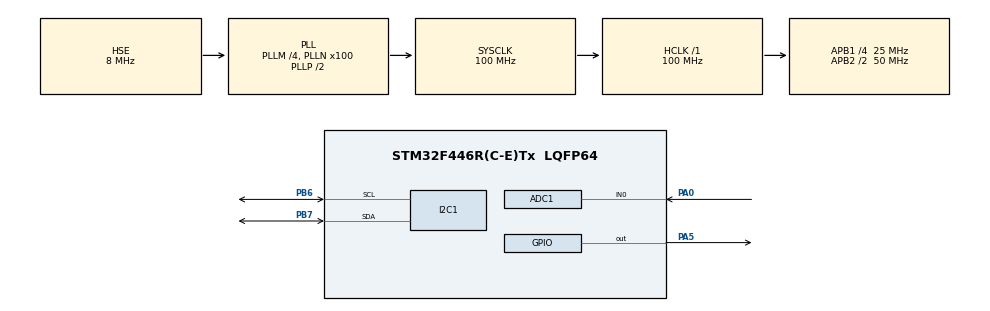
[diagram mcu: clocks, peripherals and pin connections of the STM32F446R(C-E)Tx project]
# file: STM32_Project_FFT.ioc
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ADC1.Channel-0\#ChannelRegularConversion=ADC_CHANNEL_0
ADC1.DMAContinuousRequests=ENABLE
ADC1.ExternalTrigConv=ADC_EXTERNALTRIGCONV_T2_TRGO
ADC1.NbrOfConversionFlag=1
ADC1.Rank-0\#ChannelRegularConversion=1
ADC1.SamplingTime-0\#ChannelRegularConversion=ADC_SAMPLETIME_15CYCLES
ADC1.master=1
Dma.ADC1.0.Direction=DMA_PERIPH_TO_MEMORY
Dma.ADC1.0.FIFOMode=DMA_FIFOMODE_DISABLE
Dma.ADC1.0.Instance=DMA2_Stream0
Dma.ADC1.0.MemDataAlignment=DMA_MDATAALIGN_HALFWORD
Dma.ADC1.0.MemInc=DMA_MINC_ENABLE
Dma.ADC1.0.Mode=DMA_CIRCULAR
Dma.ADC1.0.PeriphDataAlignment=DMA_PDATAALIGN_HALFWORD
Dma.ADC1.0.PeriphInc=DMA_PINC_DISABLE
Dma.ADC1.0.Priority=DMA_PRIORITY_LOW
Dma.I2C1_TX.1.Direction=DMA_MEMORY_TO_PERIPH
Dma.I2C1_TX.1.FIFOMode=DMA_FIFOMODE_DISABLE
Dma.I2C1_TX.1.Instance=DMA1_Stream6
Dma.I2C1_TX.1.MemDataAlignment=DMA_MDATAALIGN_BYTE
Dma.I2C1_TX.1.MemInc=DMA_MINC_ENABLE
Dma.I2C1_TX.1.Mode=DMA_NORMAL
Dma.I2C1_TX.1.PeriphDataAlignment=DMA_PDATAALIGN_BYTE
Dma.I2C1_TX.1.PeriphInc=DMA_PINC_DISABLE
Dma.I2C1_TX.1.Priority=DMA_PRIORITY_HIGH
Dma.Request0=ADC1
Dma.Request1=I2C1_TX
I2C1.I2C_Mode=I2C_Fast
Mcu.Family=STM32F4
Mcu.Name=STM32F446R(C-E)Tx
Mcu.Package=LQFP64
NVIC.ADC_IRQn=true\:0\:0\:false\:false\:true\:true\:true\:true
NVIC.DMA1_Stream6_IRQn=true\:0\:0\:false\:false\:true\:false\:true\:true
NVIC.DMA2_Stream0_IRQn=true\:0\:0\:false\:false\:true\:false\:true\:true
NVIC.I2C1_ER_IRQn=true\:0\:0\:false\:false\:true\:true\:true\:true
NVIC.I2C1_EV_IRQn=true\:0\:0\:false\:false\:true\:true\:true\:true
NVIC.PriorityGroup=NVIC_PRIORITYGROUP_0
NVIC.TIM2_IRQn=true\:0\:0\:false\:false\:true\:true\:true\:true
PA0-WKUP.Signal=ADCx_IN0
PA13.Mode=Serial_Wire
PA13.Signal=SYS_JTMS-SWDIO
PA14.Mode=Serial_Wire
PA14.Signal=SYS_JTCK-SWCLK
PA5.Signal=GPIO_Output
PB6.GPIO_Speed=GPIO_SPEED_FREQ_VERY_HIGH
PB6.Mode=I2C
PB6.Signal=I2C1_SCL
PB7.GPIO_Speed=GPIO_SPEED_FREQ_VERY_HIGH
PB7.Mode=I2C
PB7.Signal=I2C1_SDA
PB8.Signal=S_TIM2_CH1_ETR
PH0-OSC_IN.Mode=HSE-External-Oscillator
PH0-OSC_IN.Signal=RCC_OSC_IN
PH1-OSC_OUT.Mode=HSE-External-Oscillator
PH1-OSC_OUT.Signal=RCC_OSC_OUT
ProjectManager.HeapSize=0x200
ProjectManager.StackSize=0x400
ProjectManager.TargetToolchain=STM32CubeIDE
RCC.AHBFreq_Value=100000000
RCC.APB1CLKDivider=RCC_HCLK_DIV4
RCC.APB1Freq_Value=25000000
RCC.APB1TimFreq_Value=50000000
RCC.APB2CLKDivider=RCC_HCLK_DIV2
RCC.APB2Freq_Value=50000000
RCC.APB2TimFreq_Value=100000000
RCC.CortexFreq_Value=100000000
RCC.FLatency-AdvancedSettings=FLASH_LATENCY_3
RCC.HCLKFreq_Value=100000000
RCC.HSE_VALUE=8000000
RCC.HSI_VALUE=16000000
RCC.LSE_VALUE=32768
RCC.PLLM=4
RCC.PLLN=100
RCC.PLLSourceVirtual=RCC_PLLSOURCE_HSE
RCC.SYSCLKFreq_VALUE=100000000
RCC.SYSCLKSource=RCC_SYSCLKSOURCE_PLLCLK
RCC.USBFreq_Value=100000000
RCC.VCOOutputFreq_Value=200000000
SH.ADCx_IN0.0=ADC1_IN0,IN0
SH.S_TIM2_CH1_ETR.0=TIM2_CH1
TIM2.Period=49
TIM2.Prescaler=99
TIM2.TIM_MasterOutputTrigger=TIM_TRGO_UPDATE
VP_TIM1_VS_ClockSourceITR.Mode=TriggerSource_ITR0
VP_TIM2_VS_ClockSourceINT.Mode=Internal
VP_TIM2_VS_ClockSourceITR.Mode=TriggerSource_ITR0
board=NUCLEO-F446RE

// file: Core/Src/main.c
/* USER CODE BEGIN Header */
/**
  ******************************************************************************
  * @file           : main.c
  * @brief          : Main program body
  ******************************************************************************
  * @attention
  *
  * Copyright (c) 2026 STMicroelectronics.
  * All rights reserved.
  *
  * This software is licensed under terms that can be found in the LICENSE file
  * in the root directory of this software component.
  * If no LICENSE file comes with this software, it is provided AS-IS.
  *
  ******************************************************************************
  */
/* USER CODE END Header */
#include "main.h"

/* USER CODE BEGIN Includes */
#include "ssd1306.h"
#include <stdlib.h>
/* USER CODE END Includes */

/* USER CODE BEGIN PD */
#define MEM_BUFFER_SIZE 256
#define DIVIDER 2
/* USER CODE END PD */

ADC_HandleTypeDef hadc1;
DMA_HandleTypeDef hdma_adc1;

I2C_HandleTypeDef hi2c1;
DMA_HandleTypeDef hdma_i2c1_tx;

TIM_HandleTypeDef htim1;
TIM_HandleTypeDef htim2;

void SystemClock_Config(void);
static void MX_GPIO_Init(void);
static void MX_DMA_Init(void);
static void MX_ADC1_Init(void);
static void MX_TIM1_Init(void);
static void MX_TIM2_Init(void);
static void MX_I2C1_Init(void);
/* USER CODE BEGIN PFP */
void HAL_ADC_ConvCpltCallback(ADC_HandleTypeDef *hadc);
void HAL_ADC_ConvHalfCpltCallback(ADC_HandleTypeDef *hadc);
void map_wave_to_ssd1306(uint16_t *buffer, uint8_t processed);
/* USER CODE END PFP */

/* USER CODE BEGIN 0 */
uint16_t mem_buffer[MEM_BUFFER_SIZE];

//0 -> not ready
//1 -> filled first half of buffer
//2 -> filled full buffer
volatile uint8_t half_ready;
volatile uint8_t full_ready;
volatile uint8_t screen_in_process;

int prev_y;
/* USER CODE END 0 */

int main(void)
{

  /* MCU Configuration--------------------------------------------------------*/

  /* Reset of all peripherals, Initializes the Flash interface and the Systick. */
  HAL_Init();

  /* Configure the system clock */
  SystemClock_Config();

  /* Initialize all configured peripherals */
  MX_GPIO_Init();
  MX_DMA_Init();
  MX_ADC1_Init();
  MX_TIM1_Init();
  MX_TIM2_Init();
  MX_I2C1_Init();
  /* USER CODE BEGIN 2 */
  SSD1306_Init();
  HAL_ADC_Start_DMA(&hadc1, (uint32_t *)mem_buffer, MEM_BUFFER_SIZE);
  HAL_TIM_Base_Start(&htim2);
  /* USER CODE END 2 */

  /* Infinite loop */
  while (1)
  {

    /* USER CODE BEGIN 3 */
	if (half_ready)
	{
		half_ready = 0;
		SSD1306_Fill (0);
	   	map_wave_to_ssd1306(mem_buffer, 1);
     }
     if (full_ready)
     {
	   	full_ready = 0;
	   	map_wave_to_ssd1306(mem_buffer, 2);
	   	if (!screen_in_process)
	   	{
	   		screen_in_process = 1;
	        SSD1306_UpdateScreen();
	   	}
	 }

  }
  /* USER CODE END 3 */
}

void SystemClock_Config(void)
{
  RCC_OscInitTypeDef RCC_OscInitStruct = {0};
  RCC_ClkInitTypeDef RCC_ClkInitStruct = {0};

  /** Configure the main internal regulator output voltage
  */
  __HAL_RCC_PWR_CLK_ENABLE();
  __HAL_PWR_VOLTAGESCALING_CONFIG(PWR_REGULATOR_VOLTAGE_SCALE3);

  /** Initializes the RCC Oscillators according to the specified parameters
  * in the RCC_OscInitTypeDef structure.
  */
  RCC_OscInitStruct.OscillatorType = RCC_OSCILLATORTYPE_HSE;
  RCC_OscInitStruct.HSEState = RCC_HSE_ON;
  RCC_OscInitStruct.PLL.PLLState = RCC_PLL_ON;
  RCC_OscInitStruct.PLL.PLLSource = RCC_PLLSOURCE_HSE;
  RCC_OscInitStruct.PLL.PLLM = 4;
  RCC_OscInitStruct.PLL.PLLN = 100;
  RCC_OscInitStruct.PLL.PLLP = RCC_PLLP_DIV2;
  RCC_OscInitStruct.PLL.PLLQ = 2;
  RCC_OscInitStruct.PLL.PLLR = 2;
  if (HAL_RCC_OscConfig(&RCC_OscInitStruct) != HAL_OK)
  {
    Error_Handler();
  }

  /** Initializes the CPU, AHB and APB buses clocks
  */
  RCC_ClkInitStruct.ClockType = RCC_CLOCKTYPE_HCLK|RCC_CLOCKTYPE_SYSCLK
                              |RCC_CLOCKTYPE_PCLK1|RCC_CLOCKTYPE_PCLK2;
  RCC_ClkInitStruct.SYSCLKSource = RCC_SYSCLKSOURCE_PLLCLK;
  RCC_ClkInitStruct.AHBCLKDivider = RCC_SYSCLK_DIV1;
  RCC_ClkInitStruct.APB1CLKDivider = RCC_HCLK_DIV4;
  RCC_ClkInitStruct.APB2CLKDivider = RCC_HCLK_DIV2;

  if (HAL_RCC_ClockConfig(&RCC_ClkInitStruct, FLASH_LATENCY_3) != HAL_OK)
  {
    Error_Handler();
  }
}

static void MX_ADC1_Init(void)
{

  ADC_ChannelConfTypeDef sConfig = {0};

  /** Configure the global features of the ADC (Clock, Resolution, Data Alignment and number of conversion)
  */
  hadc1.Instance = ADC1;
  hadc1.Init.ClockPrescaler = ADC_CLOCK_SYNC_PCLK_DIV2;
  hadc1.Init.Resolution = ADC_RESOLUTION_12B;
  hadc1.Init.ScanConvMode = DISABLE;
  hadc1.Init.ContinuousConvMode = DISABLE;
  hadc1.Init.DiscontinuousConvMode = DISABLE;
  hadc1.Init.ExternalTrigConvEdge = ADC_EXTERNALTRIGCONVEDGE_RISING;
  hadc1.Init.ExternalTrigConv = ADC_EXTERNALTRIGCONV_T2_TRGO;
  hadc1.Init.DataAlign = ADC_DATAALIGN_RIGHT;
  hadc1.Init.NbrOfConversion = 1;
  hadc1.Init.DMAContinuousRequests = ENABLE;
  hadc1.Init.EOCSelection = ADC_EOC_SINGLE_CONV;
  if (HAL_ADC_Init(&hadc1) != HAL_OK)
  {
    Error_Handler();
  }

  /** Configure for the selected ADC regular channel its corresponding rank in the sequencer and its sample time.
  */
  sConfig.Channel = ADC_CHANNEL_0;
  sConfig.Rank = 1;
  sConfig.SamplingTime = ADC_SAMPLETIME_15CYCLES;
  if (HAL_ADC_ConfigChannel(&hadc1, &sConfig) != HAL_OK)
  {
    Error_Handler();
  }

}

static void MX_I2C1_Init(void)
{

  hi2c1.Instance = I2C1;
  hi2c1.Init.ClockSpeed = 400000;
  hi2c1.Init.DutyCycle = I2C_DUTYCYCLE_2;
  hi2c1.Init.OwnAddress1 = 0;
  hi2c1.Init.AddressingMode = I2C_ADDRESSINGMODE_7BIT;
  hi2c1.Init.DualAddressMode = I2C_DUALADDRESS_DISABLE;
  hi2c1.Init.OwnAddress2 = 0;
  hi2c1.Init.GeneralCallMode = I2C_GENERALCALL_DISABLE;
  hi2c1.Init.NoStretchMode = I2C_NOSTRETCH_DISABLE;
  if (HAL_I2C_Init(&hi2c1) != HAL_OK)
  {
    Error_Handler();
  }

}

static void MX_TIM1_Init(void)
{

  TIM_SlaveConfigTypeDef sSlaveConfig = {0};
  TIM_MasterConfigTypeDef sMasterConfig = {0};

  htim1.Instance = TIM1;
  htim1.Init.Prescaler = 0;
  htim1.Init.CounterMode = TIM_COUNTERMODE_UP;
  htim1.Init.Period = 65535;
  htim1.Init.ClockDivision = TIM_CLOCKDIVISION_DIV1;
  htim1.Init.RepetitionCounter = 0;
  htim1.Init.AutoReloadPreload = TIM_AUTORELOAD_PRELOAD_DISABLE;
  if (HAL_TIM_Base_Init(&htim1) != HAL_OK)
  {
    Error_Handler();
  }
  sSlaveConfig.SlaveMode = TIM_SLAVEMODE_DISABLE;
  sSlaveConfig.InputTrigger = TIM_TS_ITR0;
  if (HAL_TIM_SlaveConfigSynchro(&htim1, &sSlaveConfig) != HAL_OK)
  {
    Error_Handler();
  }
  sMasterConfig.MasterOutputTrigger = TIM_TRGO_RESET;
  sMasterConfig.MasterSlaveMode = TIM_MASTERSLAVEMODE_DISABLE;
  if (HAL_TIMEx_MasterConfigSynchronization(&htim1, &sMasterConfig) != HAL_OK)
  {
    Error_Handler();
  }

}

static void MX_TIM2_Init(void)
{

  TIM_ClockConfigTypeDef sClockSourceConfig = {0};
  TIM_SlaveConfigTypeDef sSlaveConfig = {0};
  TIM_MasterConfigTypeDef sMasterConfig = {0};

  htim2.Instance = TIM2;
  htim2.Init.Prescaler = 99;
  htim2.Init.CounterMode = TIM_COUNTERMODE_UP;
  htim2.Init.Period = 49;
  htim2.Init.ClockDivision = TIM_CLOCKDIVISION_DIV1;
  htim2.Init.AutoReloadPreload = TIM_AUTORELOAD_PRELOAD_DISABLE;
  if (HAL_TIM_Base_Init(&htim2) != HAL_OK)
  {
    Error_Handler();
  }
  sClockSourceConfig.ClockSource = TIM_CLOCKSOURCE_INTERNAL;
  if (HAL_TIM_ConfigClockSource(&htim2, &sClockSourceConfig) != HAL_OK)
  {
    Error_Handler();
  }
  sSlaveConfig.SlaveMode = TIM_SLAVEMODE_DISABLE;
  sSlaveConfig.InputTrigger = TIM_TS_ITR0;
  if (HAL_TIM_SlaveConfigSynchro(&htim2, &sSlaveConfig) != HAL_OK)
  {
    Error_Handler();
  }
  sMasterConfig.MasterOutputTrigger = TIM_TRGO_UPDATE;
  sMasterConfig.MasterSlaveMode = TIM_MASTERSLAVEMODE_DISABLE;
  if (HAL_TIMEx_MasterConfigSynchronization(&htim2, &sMasterConfig) != HAL_OK)
  {
    Error_Handler();
  }

}

static void MX_DMA_Init(void)
{

  /* DMA controller clock enable */
  __HAL_RCC_DMA2_CLK_ENABLE();
  __HAL_RCC_DMA1_CLK_ENABLE();

  /* DMA interrupt init */
  /* DMA1_Stream6_IRQn interrupt configuration */
  HAL_NVIC_SetPriority(DMA1_Stream6_IRQn, 0, 0);
  HAL_NVIC_EnableIRQ(DMA1_Stream6_IRQn);
  /* DMA2_Stream0_IRQn interrupt configuration */
  HAL_NVIC_SetPriority(DMA2_Stream0_IRQn, 0, 0);
  HAL_NVIC_EnableIRQ(DMA2_Stream0_IRQn);

}

static void MX_GPIO_Init(void)
{
  GPIO_InitTypeDef GPIO_InitStruct = {0};

  /* GPIO Ports Clock Enable */
  __HAL_RCC_GPIOH_CLK_ENABLE();
  __HAL_RCC_GPIOA_CLK_ENABLE();
  __HAL_RCC_GPIOB_CLK_ENABLE();

  /*Configure GPIO pin Output Level */
  HAL_GPIO_WritePin(GPIOA, GPIO_PIN_5, GPIO_PIN_RESET);

  /*Configure GPIO pin : PA5 */
  GPIO_InitStruct.Pin = GPIO_PIN_5;
  GPIO_InitStruct.Mode = GPIO_MODE_OUTPUT_PP;
  GPIO_InitStruct.Pull = GPIO_NOPULL;
  GPIO_InitStruct.Speed = GPIO_SPEED_FREQ_LOW;
  HAL_GPIO_Init(GPIOA, &GPIO_InitStruct);

}

/* USER CODE BEGIN 4 */
void map_wave_to_ssd1306(uint16_t *buffer, uint8_t processed)
{
	if (processed == 1)
	{
		for (int i = 0; i < MEM_BUFFER_SIZE / 2 / DIVIDER; i++)
		{
			int sum = 0;

			for (int j = 0; j < DIVIDER; j++)
			{
				sum += abs(buffer[ DIVIDER * i + j]);
			}
			int real_y = (sum / DIVIDER) / 128;

			if (i > 1)
			{
			    SSD1306_DrawLine(i - 1, prev_y, i, real_y, SSD1306_COLOR_WHITE);
			}
			prev_y = real_y;
		}
	}
	else if (processed == 2)
	{
		for (int i = MEM_BUFFER_SIZE / 2 / DIVIDER ; i < MEM_BUFFER_SIZE / DIVIDER ; i++)
		{
			int sum = 0;
			for (int j = 0; j < DIVIDER; j++)
			{
				sum += abs(buffer[ DIVIDER * i + j]);
			}
			int real_y = (sum / DIVIDER) / 128;

		    SSD1306_DrawLine(i - 1, prev_y, i, real_y, SSD1306_COLOR_WHITE);

			prev_y = real_y;
		}
	}
}

void HAL_ADC_ConvHalfCpltCallback(ADC_HandleTypeDef *hadc)
{
    half_ready = 1;
}
void HAL_ADC_ConvCpltCallback(ADC_HandleTypeDef *hadc)
{
	full_ready = 1;
}

void HAL_I2C_MasterTxCpltCallback(I2C_HandleTypeDef *hi2c) {
	screen_in_process = 0;
}

void HAL_I2C_ErrorCallback(I2C_HandleTypeDef *hi2c) {
	screen_in_process = 0;

}

/* USER CODE END 4 */

void Error_Handler(void)
{
  __disable_irq();
  while (1)
  {
  }
}
